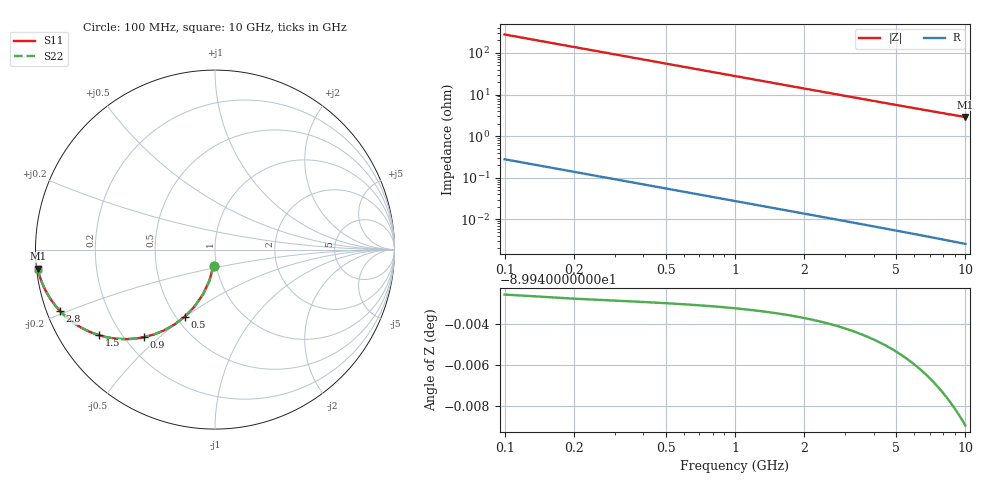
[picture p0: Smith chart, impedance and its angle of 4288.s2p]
# Hz S RI R 50.00
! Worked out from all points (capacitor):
!   100 points, 100 MHz to 10 GHz, reference 50 ohm
!   read as one part in shunt: C = 5.72 pF near 100 MHz
!   lowest |Z| = 2.88 ohm at 10 GHz (marker M1)
!   S11 on the Smith chart (normalised r, x): 100 MHz: 0.97, -0.17; 500 MHz: 0.55, -0.50; 900 MHz: 0.28, -0.45; 1.5 GHz: 0.12, -0.33; 2.8 GHz: 0.04, -0.19; 10 GHz: 0.00, -0.05
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1e8  -0.00808 -0.0891  0.9919 -0.0891  0.9919 -0.0891  -0.00808 -0.0891
2e8  -0.0314 -0.1739  0.9686 -0.174  0.9686 -0.174  -0.0314 -0.1739
3e8  -0.0679 -0.251  0.9321 -0.2512  0.9321 -0.2512  -0.0679 -0.251
4e8  -0.1145 -0.3178  0.8854 -0.3181  0.8854 -0.3181  -0.1145 -0.3178
5e8  -0.168 -0.3732  0.832 -0.3736  0.832 -0.3736  -0.168 -0.3732
6e8  -0.2252 -0.417  0.7748 -0.4174  0.7748 -0.4174  -0.2252 -0.417
7e8  -0.2833 -0.4499  0.7166 -0.4504  0.7166 -0.4504  -0.2833 -0.4499
8e8  -0.3404 -0.4731  0.6596 -0.4737  0.6596 -0.4737  -0.3404 -0.4731
9e8  -0.395 -0.488  0.605 -0.4887  0.605 -0.4887  -0.395 -0.488
1e9  -0.4462 -0.4962  0.5538 -0.497  0.5538 -0.497  -0.4462 -0.4962
1.2e9  -0.5369 -0.4977  0.4631 -0.4986  0.4631 -0.4986  -0.5369 -0.4977
1.5e9  -0.644 -0.4777  0.3559 -0.4789  0.3559 -0.4789  -0.644 -0.4777
1.8e9  -0.7224 -0.4466  0.2776 -0.448  0.2776 -0.448  -0.7224 -0.4466
2e9  -0.7625 -0.4243  0.2375 -0.4258  0.2375 -0.4258  -0.7625 -0.4243
2.3e9  -0.8092 -0.3915  0.1908 -0.3933  0.1908 -0.3933  -0.8092 -0.3915
2.8e9  -0.8626 -0.3427  0.1374 -0.3448  0.1374 -0.3448  -0.8626 -0.3427
3.4e9  -0.9023 -0.2951  0.0977 -0.2976  0.0977 -0.2976  -0.9023 -0.2951
4.2e9  -0.9336 -0.2468  0.0663 -0.25  0.0663 -0.25  -0.9336 -0.2468
5.1e9  -0.9539 -0.2072  0.046 -0.211  0.046 -0.211  -0.9539 -0.2072
6.7e9  -0.9727 -0.1597  0.0272 -0.1648  0.0272 -0.1648  -0.9727 -0.1597
8.4e9  -0.9825 -0.1273  0.0175 -0.1338  0.0175 -0.1338  -0.9825 -0.1273
1e10  -0.9876 -0.1062  0.0123 -0.1139  0.0123 -0.1139  -0.9876 -0.1062
